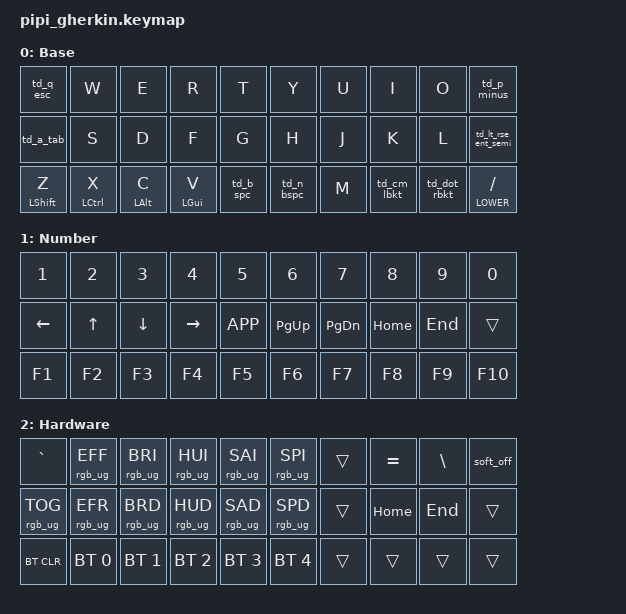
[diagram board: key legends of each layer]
#include <behaviors.dtsi>
 #include <dt-bindings/zmk/keys.h>
 #include <dt-bindings/zmk/bt.h>
 #include <dt-bindings/zmk/rgb.h>
 #include <dt-bindings/zmk/ext_power.h>
 #include <dt-bindings/zmk/outputs.h>

#define DEFAULT 0
#define LOWER 1
#define RAISE 2

/* Behavior Settings */

&sl { release-after-ms = <250>; };

&lt {
    tapping-term-ms = <240>;
    quick-tap-ms = <150>;
    require-prior-idle-ms = <10>;
    flavor = "tap-preferred";
};

&mt {
    tapping-term-ms = <250>;
    require-prior-idle-ms = <250>;
    flavor = "tap-preferred";
};

&soft_off {
    hold-time-ms = <5000>; // Only turn off it the key is held for 5 seconds or longer.
};

&sk {
    quick-release;
    release-after-ms = <600>;
};

/ {
  behaviors {
    td_q_esc: tap_dance_q_escape {
      compatible = "zmk,behavior-tap-dance";
      #binding-cells = <0>;
      bindings = <&kp Q>, <&kp ESC>;
    };
    td_p_minus: tap_dance_p_minus {
      compatible = "zmk,behavior-tap-dance";
      #binding-cells = <0>;
      bindings = <&kp P>, <&kp MINUS>;
    };
    td_a_tab: tap_dance_a_tab {
      compatible = "zmk,behavior-tap-dance";
      #binding-cells = <0>;
      bindings = <&kp A>, <&kp TAB>;
    };
    td_b_spc: tap_dance_b_space {
      compatible = "zmk,behavior-tap-dance";
      #binding-cells = <0>;
      tapping-term-ms = <300>;
      bindings = <&kp B>, <&kp SPACE>;
    };
    td_n_bspc: tap_dance_n_backspace {
      compatible = "zmk,behavior-tap-dance";
      #binding-cells = <0>;
      tapping-term-ms = <300>;
      bindings = <&kp N>, <&kp BSPC>;
    };
    td_lt_rse_ent_semi: tap_dance_raise_enter_semicolon {
      compatible = "zmk,behavior-tap-dance";
      #binding-cells = <0>;
      bindings = <&lt RAISE ENTER>, <&kp SEMI>, <&kp SQT>;
    };
    td_cm_lbkt: tap_dance_comma_left_bracket {
      compatible = "zmk,behavior-tap-dance";
      #binding-cells = <0>;
      bindings = <&kp COMMA>, <&kp LBKT>;
    };
    td_dot_rbkt: tap_dance_dot_right_bracket {
      compatible = "zmk,behavior-tap-dance";
      #binding-cells = <0>;
      bindings = <&kp DOT>, <&kp RBKT>;
    };
  };
  keymap {
    compatible = "zmk,keymap";

    default_layer { // DEFAULT
      display-name = "Base";
      // -------------------------------------------------------------
      // |  Q  |  W  |  E  |  R  |  T  |  Y  |  U  |  I  |  O  |  P  |
      // |  A  |  S  |  D  |  F  |  G  |  H  |  J  |  K  |  L  |  ;  |
      // |  Z  |  X  |  C  |  V  |  B  |  N  |  M  |  ,  |  .  |  /  |
      // -------------------------------------------------------------
      bindings = <
        &td_q_esc     &kp W       &kp E       &kp R       &kp T      &kp Y  &kp U  &kp I      &kp O    &td_p_minus
        &td_a_tab     &kp S       &kp D       &kp F       &kp G      &kp H  &kp J  &kp K      &kp L    &td_lt_rse_ent_semi
        &mt LSHIFT Z  &mt LCTL X  &mt LALT C  &mt LGUI V  &td_b_spc  &td_n_bspc  &kp M  &td_cm_lbkt  &td_dot_rbkt  &lt LOWER SLASH
      >;
    };
    lower { // LOWER
      display-name = "Number";
      // -------------------------------------------------------------------
      // |  1  |  2  |   3   |  4   |  5  |  6   |  7   |  8   |  9  |  0  |
      // | LFT |  UP | RIGHT | DOWN | APP | PGUP | PGDN | HOME | END |  =  |
      // |  F1 |  F2 |   F3  |  F4  |  F5 |  F6  |  F7  |  F8  |  F9 | F10 |
      // -------------------------------------------------------------------
      bindings = <
        &kp N1    &kp N2  &kp N3   &kp N4    &kp N5     &kp N6     &kp N7     &kp N8    &kp N9   &kp N0
        &kp LEFT  &kp UP  &kp DOWN &kp RIGHT &kp K_APP  &kp PG_UP  &kp PG_DN  &kp HOME  &kp END  &trans
        &kp F1    &kp F2  &kp F3   &kp F4    &kp F5     &kp F6     &kp F7     &kp F8    &kp F9   &kp F10
      >;
    };
    raise { // RAISE
      display-name = "Hardware";
      // -------------------------------------------------------------
      // |    `     | RGB_EFF | RGB_BRI | RGB_HUI | RGB_SAI | RGB_SPI |  U  |  =   |  \  | SOFT_OFF |
      // | RGB_TOG  | RGB_EFD | RGB_BRD | RGB_HUD | RGB_SAD | RGB_SPD |  J  | HOME | END |     ;   |
      // | BT_CLR   |   BT1   |   BT2   |   BT3   |   BT4   |   BT5   |  M  |  ,   |  .  |     /    |
      // -------------------------------------------------------------
      // &kp LCTRL  &kp LALT  &kp LGUI  &mo FNC  &kp SPACE  &mo LWR  &mo RSE
      // &kp ESC  &kp BSPC  &kp TAB &kp SQT  &kp SEMI  &kp LSHFT  &kp UP  &kp LEFT  &kp DOWN  &kp RIGHT
      bindings = <
        &kp GRAVE       &rgb_ug RGB_EFF  &rgb_ug RGB_BRI  &rgb_ug RGB_HUI  &rgb_ug RGB_SAI  &rgb_ug RGB_SPI  &trans  &kp EQUAL  &kp BSLH  &soft_off
        &rgb_ug RGB_TOG &rgb_ug RGB_EFR  &rgb_ug RGB_BRD  &rgb_ug RGB_HUD  &rgb_ug RGB_SAD  &rgb_ug RGB_SPD  &trans  &kp HOME   &kp END   &trans
        &bt BT_CLR      &bt BT_SEL 0     &bt BT_SEL 1     &bt BT_SEL 2     &bt BT_SEL 3     &bt BT_SEL 4     &trans  &trans     &trans    &trans
      >;
    };
  };
};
